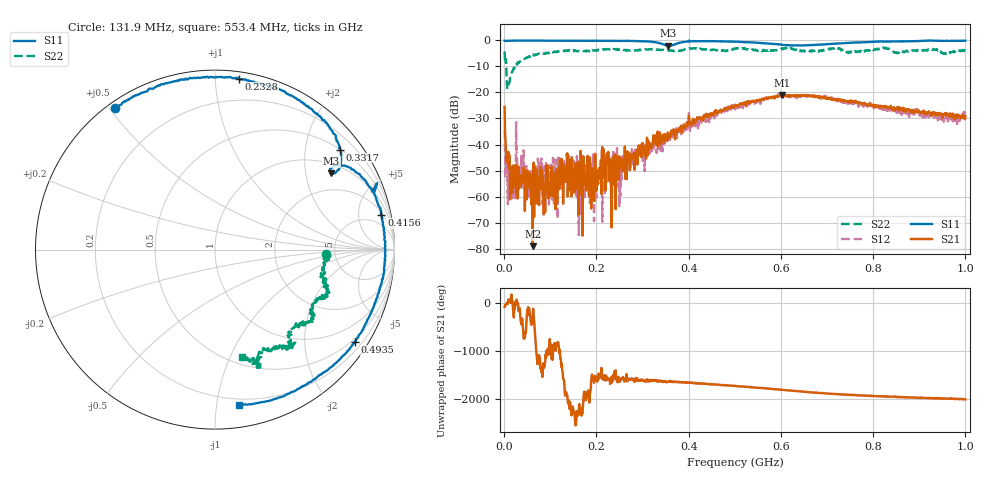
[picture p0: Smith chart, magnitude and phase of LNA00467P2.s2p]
! Created with skrf 1.9.0 (http://scikit-rf.org).
# Hz S RI R 50.0
!freq ReS11 ImS11 ReS21 ImS21 ReS12 ImS12 ReS22 ImS22
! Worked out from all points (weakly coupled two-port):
!   1001 points, 1 MHz to 1 GHz, reference 50 ohm
!   highest |S21| = -21.00 dB at 602.4 MHz (marker M1); lowest = -78.8 dB at 61.94 MHz (marker M2)
!   lowest |S11| = -2.2 dB at 355.6 MHz (marker M3), VSWR 7.86, Z = 65.7 + j139 ohm
!   |S11| at or under -10 dB: nowhere
!   |S22| runs from -18.7 to -2.8 dB; largest |S21 - S12| = 0.046
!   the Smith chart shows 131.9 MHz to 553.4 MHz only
!   S11 on the Smith chart (normalised r, x): 131.9 MHz: 0.02, +0.52; 232.8 MHz: 0.05, +1.15; 331.7 MHz: 0.51, +2.77; 415.6 MHz: 2.42, +9.04; 493.5 MHz: 0.42, -3.28; 553.4 MHz: 0.15, -1.16
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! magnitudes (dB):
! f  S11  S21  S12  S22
! 1 MHz  -0.3  -25.5  -34.6  -4.4
! 9.991 MHz  -0.3  -49.1  -59.8  -16.9
! 17.98 MHz  -0.3  -58.4  -61.0  -12.1
! 30.97 MHz  -0.2  -48.4  -53.7  -8.7
! 61.94 MHz  -0.2  -78.8  -55.3  -5.7
! 131.9 MHz  -0.3  -50.1  -50.9  -4.2
! 167.8 MHz  -0.3  -50.5  -43.4  -4.4
! 217.8 MHz  -0.3  -50.3  -59.1  -3.6
! 225.8 MHz  -0.3  -42.8  -44.9  -3.5
! 232.8 MHz  -0.4  -71.6  -52.5  -3.4
! 254.7 MHz  -0.4  -48.0  -53.2  -3.7
! 331.7 MHz  -1.0  -39.4  -39.5  -3.8
! 334.7 MHz  -1.1  -37.3  -41.6  -3.7
! 355.6 MHz  -2.2  -35.6  -38.4  -4.0
! 415.6 MHz  -0.5  -30.3  -32.5  -3.4
! 493.5 MHz  -0.6  -25.9  -25.4  -3.7
! 500.5 MHz  -0.6  -25.1  -26.6  -3.3
! 553.4 MHz  -1.1  -22.8  -23.1  -4.2
! 602.4 MHz  -1.8  -21.0  -21.5  -3.1
! 667.3 MHz  -1.9  -21.4  -21.5  -4.3
! 834.2 MHz  -0.6  -26.1  -26.2  -3.5
! 1 GHz  -0.3  -29.1  -28.6  -4.5
